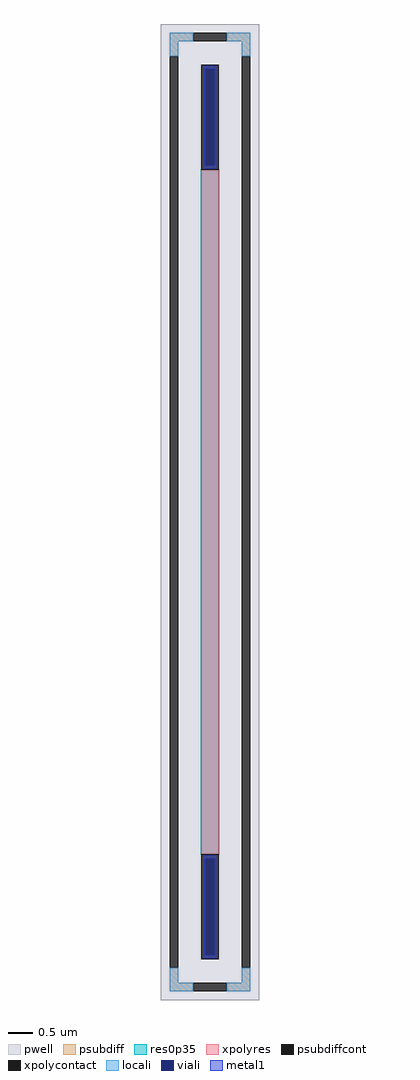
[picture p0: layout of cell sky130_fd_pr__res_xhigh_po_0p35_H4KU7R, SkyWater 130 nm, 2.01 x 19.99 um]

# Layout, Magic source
magic
tech sky130A
magscale 1 2
<< pwell >>
rect -201 -1999 201 1999
<< psubdiff >>
rect -165 1929 -69 1963
rect 69 1929 165 1963
rect -165 1867 -131 1929
rect 131 1867 165 1929
rect -165 -1929 -131 -1867
rect 131 -1929 165 -1867
rect -165 -1963 -69 -1929
rect 69 -1963 165 -1929
<< psubdiffcont >>
rect -69 1929 69 1963
rect -165 -1867 -131 1867
rect 131 -1867 165 1867
rect -69 -1963 69 -1929
<< xpolycontact >>
rect -35 1401 35 1833
rect -35 -1833 35 -1401
<< xpolyres >>
rect -35 -1401 35 1401
<< locali >>
rect -165 1929 -69 1963
rect 69 1929 165 1963
rect -165 1867 -131 1929
rect 131 1867 165 1929
rect -165 -1929 -131 -1867
rect 131 -1929 165 -1867
rect -165 -1963 -69 -1929
rect 69 -1963 165 -1929
<< viali >>
rect -19 1418 19 1815
rect -19 -1815 19 -1418
<< metal1 >>
rect -25 1815 25 1827
rect -25 1418 -19 1815
rect 19 1418 25 1815
rect -25 1406 25 1418
rect -25 -1418 25 -1406
rect -25 -1815 -19 -1418
rect 19 -1815 25 -1418
rect -25 -1827 25 -1815
<< res0p35 >>
rect -37 -1403 37 1403
<< properties >>
string FIXED_BBOX -148 -1946 148 1946
string gencell sky130_fd_pr__res_xhigh_po_0p35
string library sky130
string parameters w 0.350 l 14.005 m 1 nx 1 wmin 0.350 lmin 0.50 rho 2000 val 81.104k dummy 0 dw 0.0 term 188.2 sterm 0.0 caplen 0 wmax 0.350 guard 1 glc 1 grc 1 gtc 1 gbc 1 compatible {sky130_fd_pr__res_xhigh_po_0p35  sky130_fd_pr__res_xhigh_po_0p69 sky130_fd_pr__res_xhigh_po_1p41  sky130_fd_pr__res_xhigh_po_2p85 sky130_fd_pr__res_xhigh_po_5p73} snake 0 full_metal 1 n_guard 0 hv_guard 0 vias 1 viagb 0 viagt 0 viagl 0 viagr 0
<< end >>
